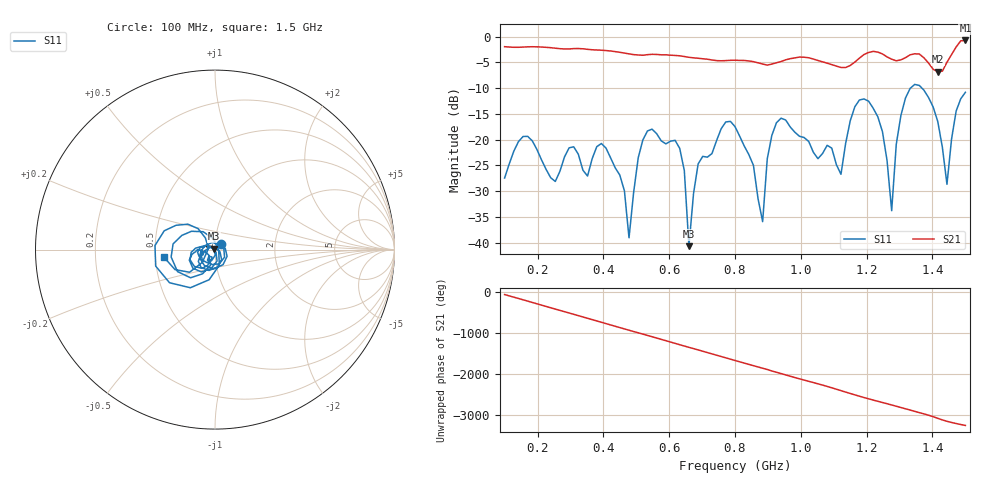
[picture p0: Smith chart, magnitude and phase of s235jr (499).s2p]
! NanoVNA-App
! Date: 2025-09-25 15:08:03
! Start: 100MHz Stop: 1,5GHz Points: 101
! S-Parameter data: F S11 S21 S12 S22
# Hz S RI R 50
!  Frequency  S11_Real  S11_Imag  S21_Real  S21_Imag  S12_Real  S12_Imag  S22_Real  S22_Imag
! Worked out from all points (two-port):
!   101 points, 100 MHz to 1.5 GHz, reference 50 ohm
!   highest |S21| = -0.76 dB at 1.5 GHz (marker M1); lowest = -6.8 dB at 1.416 GHz (marker M2)
!   |S21| within 3 dB of the highest: start of sweep to 633.9 MHz; 1.187 GHz to 1.257 GHz (70.67 MHz wide, 5.78 % of centre) (the widest 2 of 4)
!   lowest |S11| = -40.7 dB at 660 MHz (marker M3), VSWR 1.02, Z = 49.3 + j0.564 ohm
!   |S11| at or under -10 dB: start of sweep to 1.333 GHz; 1.368 GHz to end of sweep
!   S12 and S22 are empty: the file has one direction only
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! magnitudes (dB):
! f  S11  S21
! 100 MHz  -27.5  -2.0
! 156 MHz  -19.4  -2.0
! 338 MHz  -26.0  -2.4
! 408 MHz  -21.7  -2.7
! 478 MHz  -39.1  -3.4
! 520 MHz  -20.1  -3.6
! 576 MHz  -20.3  -3.5
! 632 MHz  -21.7  -3.7
! 660 MHz  -40.7  -4.0
! 688 MHz  -24.7  -4.2
! 800 MHz  -17.5  -4.6
! 884 MHz  -35.9  -5.3
! 926 MHz  -16.7  -5.1
! 1.038 GHz  -22.5  -4.4
! 1.122 GHz  -26.7  -6.0
! 1.206 GHz  -12.6  -3.1
! 1.276 GHz  -33.8  -4.4
! 1.29 GHz  -20.9  -4.7
! 1.332 GHz  -10.1  -3.5
! 1.416 GHz  -16.5  -6.8
! 1.444 GHz  -28.7  -5.0
! 1.5 GHz  -10.8  -0.8
